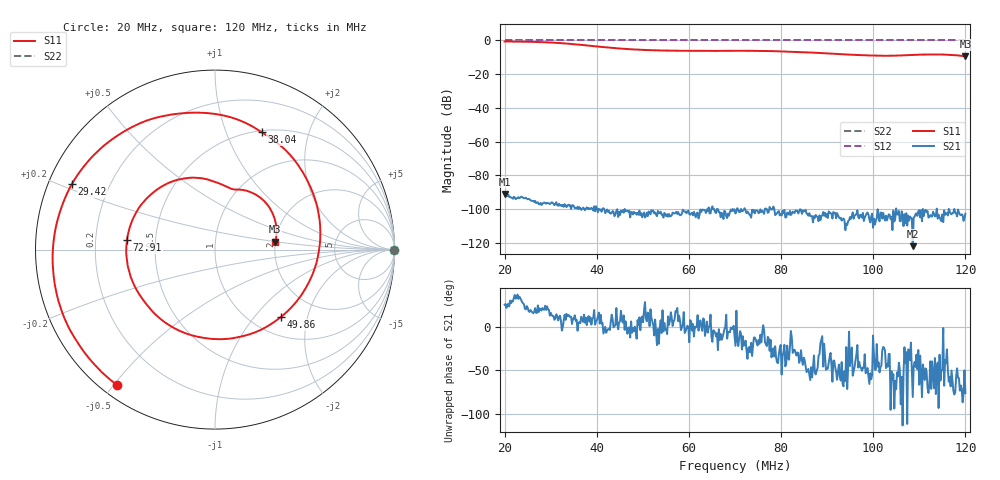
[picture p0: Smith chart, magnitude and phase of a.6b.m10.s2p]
! Anritsu VNA Master:  Model: MS2036C/10/77
! SN:  1601066
! /bd0/18may07/256.ns.m10.s2p
! Existing Calibration Information:
! TYPE:  Current Settings,  Active Cal Settings
! TIME:  05/07/2018 03:24:03 PM,  05/07/2018 03:13:55 PM
! INTERNAL TEMP:  61.8 C,  60.5 C
! # POINTS:  500,  500
! START FREQ:  20.000 MHz,  20.000 MHz
! STOP FREQ:  120.000 MHz,  120.000 MHz
! SOURCE POWER:  High,  High
! IFBW:  50 Hz,  50 Hz
! AVG FACTOR:  1 ,  1
! REF PLANE 1:  0 mm,  0 mm
! REF PLANE 2:  0 mm,  0 mm
! CAL TYPE:  Full S11,  Full S11
! CAL METHOD:  SOLT,  SOLT
! CAL LINE TYPE:  Coax,  Coax
! DUT PORT 1:  K-Conn(F),  K-Conn(F)
! DUT PORT 2:  K-Conn(F),  K-Conn(F)
! CAL STATUS:  OK: Accuracy High,  --
# GHZ S DB R 50.0
! FREQ.GHZ  S11DB  S11A  S21DB  S21A  S12DB  S12A  S22DB  S22A
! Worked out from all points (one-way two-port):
!   500 points, 20 MHz to 120 MHz, reference 50 ohm
!   highest |S21| = -91.13 dB at 20 MHz (marker M1); lowest = -122.1 dB at 108.6 MHz (marker M2)
!   lowest |S11| = -9.4 dB at 120 MHz (marker M3), VSWR 2.03, Z = 100 + j9.99 ohm
!   |S11| at or under -10 dB: nowhere
!   |S22| runs from 0.0 to 0.0 dB; largest |S21 - S12| = 1
!   S11 on the Smith chart (normalised r, x): 20 MHz: 0.05, -0.51; 29.42 MHz: 0.07, +0.22; 38.04 MHz: 0.52, +1.34; 49.86 MHz: 1.34, -1.39; 72.91 MHz: 0.34, +0.05; 120 MHz: 2.00, +0.20
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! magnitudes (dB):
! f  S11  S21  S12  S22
! 20 MHz  -0.6  -91.1  0.0  0.0
! 24.81 MHz  -0.8  -93.9  0.0  0.0
! 29.42 MHz  -1.1  -96.5  0.0  0.0
! 33.03 MHz  -1.8  -97.2  0.0  0.0
! 36.83 MHz  -2.7  -99.9  0.0  0.0
! 38.04 MHz  -3.0  -100.0  0.0  0.0
! 44.85 MHz  -4.7  -101.7  0.0  0.0
! 49.86 MHz  -5.6  -105.0  0.0  0.0
! 53.47 MHz  -5.9  -102.6  0.0  0.0
! 63.69 MHz  -6.2  -102.4  0.0  0.0
! 70.1 MHz  -6.1  -102.7  0.0  0.0
! 72.91 MHz  -6.1  -102.3  0.0  0.0
! 78.72 MHz  -6.4  -103.7  0.0  0.0
! 86.73 MHz  -7.2  -104.3  0.0  0.0
! 96.75 MHz  -8.7  -104.9  0.0  0.0
! 100.8 MHz  -9.0  -105.4  0.0  0.0
! 103.4 MHz  -9.1  -103.2  0.0  0.0
! 108.6 MHz  -8.6  -122.1  0.0  0.0
! 111.8 MHz  -8.3  -101.2  0.0  0.0
! 114.8 MHz  -8.3  -107.3  0.0  0.0
! 117.6 MHz  -8.7  -100.0  0.0  0.0
! 120 MHz  -9.4  -102.9  0.0  0.0
